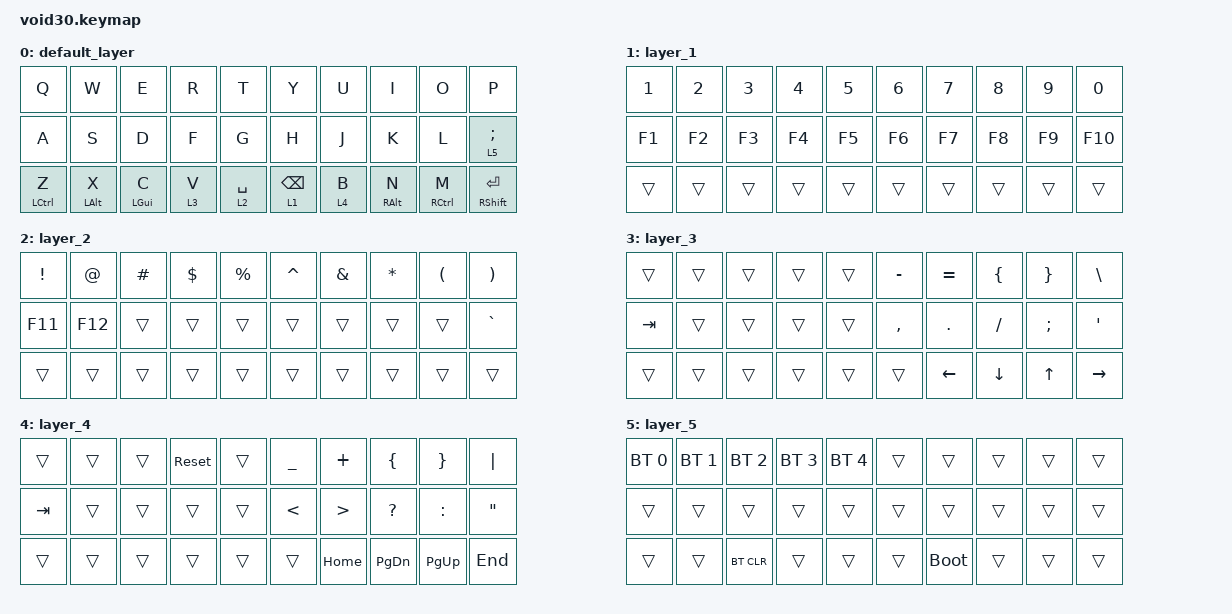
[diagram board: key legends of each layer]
#include <behaviors.dtsi>
#include <dt-bindings/zmk/bt.h>
#include <dt-bindings/zmk/keys.h>

/ {
    combos {
        compatible = "zmk,combos";

        Komma {
            bindings = <&kp KP_COMMA>;
            key-positions = <26 27>;
        };

        Punkt {
            bindings = <&kp PERIOD>;
            key-positions = <28 27>;
        };

        Cut {
            bindings = <&kp LG(X)>;
            key-positions = <22 21>;
        };

        Copy {
            bindings = <&kp LG(C)>;
            key-positions = <22 23>;
        };

        Paste {
            bindings = <&kp LG(V)>;
            key-positions = <24 23>;
        };

        ae {
            bindings = <&kp SINGLE_QUOTE>;
            key-positions = <19 18>;
        };

        ue {
            bindings = <&kp LEFT_BRACKET>;
            key-positions = <8 9>;
        };
    };

    keymap {
        compatible = "zmk,keymap";

        default_layer {
            // --------------------------------------------------------------------------------------------------------------------------------------------------------------------
            // |    Q    |    W    |    E    |    R    |    T    |    Y    |    U    |    I    |    O    |    P    | 
            // |    A    |    S    |    D    |    F    |    G    |    H    |    J    |    K    |    L    |    ;    |
            // |    Z    |    X    |    C    |    V    |         |         |    B    |    N    |    M    |  RETURN |

            bindings = <
&kp Q        &kp W       &kp E           &kp R    &kp T        &kp Y            &kp U    &kp I       &kp O        &kp P
&kp A        &kp S       &kp D           &kp F    &kp G        &kp H            &kp J    &kp K       &kp L        &lt 5 SEMI
&mt LCTRL Z  &mt LALT X  &mt LEFT_GUI C  &lt 3 V  &lt 2 SPACE  &lt 1 BACKSPACE  &lt 4 B  &mt RALT N  &mt RCTRL M  &mt RSHFT ENTER
            >;
        };

        layer_1 {
            bindings = <
&kp N1  &kp N2  &kp N3  &kp N4  &kp N5  &kp N6  &kp N7  &kp N8  &kp N9  &kp N0
&kp F1  &kp F2  &kp F3  &kp F4  &kp F5  &kp F6  &kp F7  &kp F8  &kp F9  &kp F10
&trans  &trans  &trans  &trans  &trans  &trans  &trans  &trans  &trans  &trans
            >;
        };

        layer_2 {
            bindings = <
&kp EXCL  &kp AT   &kp HASH  &kp DLLR  &kp PERCENT  &kp CARET  &kp AMPS  &kp ASTERISK  &kp LEFT_PARENTHESIS  &kp RIGHT_PARENTHESIS
&kp F11   &kp F12  &trans    &trans    &trans       &trans     &trans    &trans        &trans                &kp GRAVE
&trans    &trans   &trans    &trans    &trans       &trans     &trans    &trans        &trans                &trans
            >;
        };

        layer_3 {
            bindings = <
&trans   &trans  &trans  &trans  &trans  &kp MINUS  &kp EQUAL  &kp LBRC   &kp RBRC       &kp BACKSLASH
&kp TAB  &trans  &trans  &trans  &trans  &kp COMMA  &kp DOT    &kp SLASH  &kp SEMICOLON  &kp SINGLE_QUOTE
&trans   &trans  &trans  &trans  &trans  &trans     &kp LEFT   &kp DOWN   &kp UP_ARROW   &kp RIGHT
            >;
        };

        layer_4 {
            bindings = <
&trans   &trans  &trans  &sys_reset  &trans  &kp UNDER      &kp PLUS          &kp LBRC       &kp RBRC     &kp PIPE
&kp TAB  &trans  &trans  &trans      &trans  &kp LESS_THAN  &kp GREATER_THAN  &kp QUESTION   &kp COLON    &kp DOUBLE_QUOTES
&trans   &trans  &trans  &trans      &trans  &trans         &kp HOME          &kp PAGE_DOWN  &kp PAGE_UP  &kp END
            >;
        };

        layer_5 {
            bindings = <
&bt BT_SEL 0  &bt BT_SEL 1  &bt BT_SEL 2  &bt BT_SEL 3  &bt BT_SEL 4  &trans  &trans       &trans  &trans  &trans
&trans        &trans        &trans        &trans        &trans        &trans  &trans       &trans  &trans  &trans
&trans        &trans        &bt BT_CLR    &trans        &trans        &trans  &bootloader  &trans  &trans  &trans
            >;
        };
    };
};
